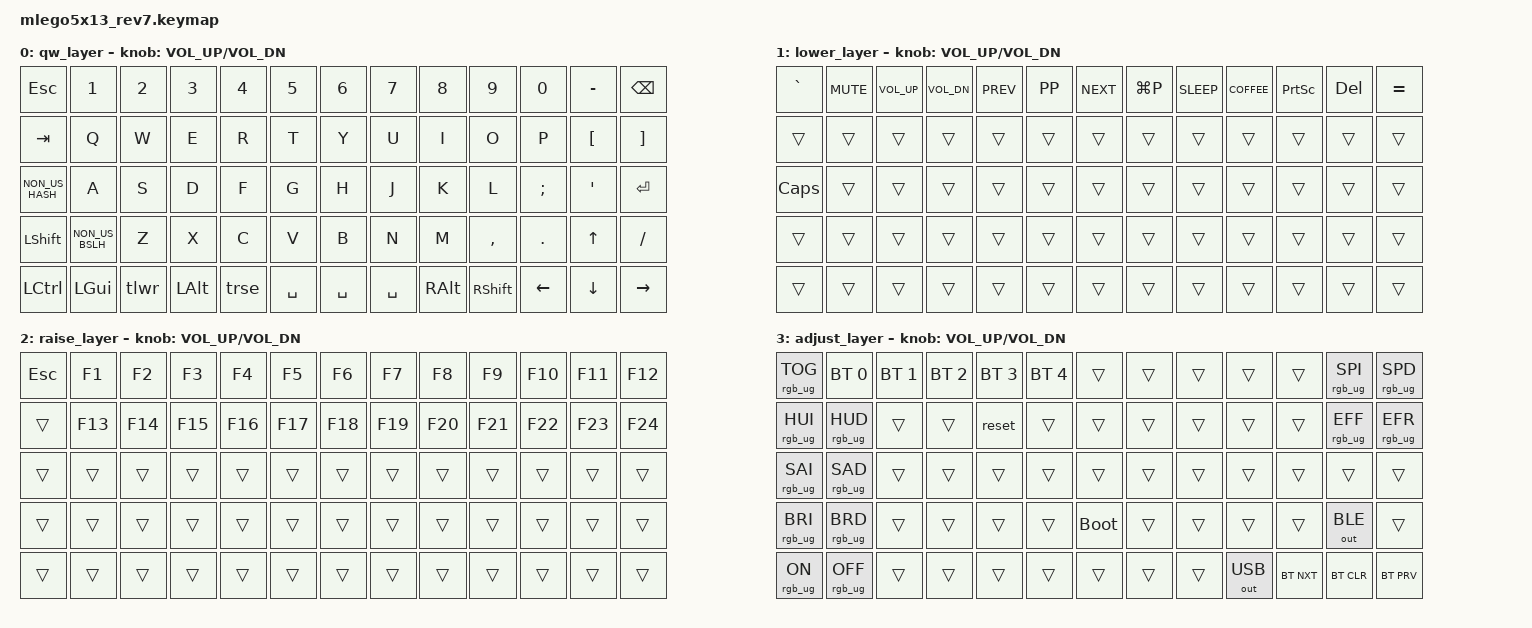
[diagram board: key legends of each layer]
/*
 * Copyright (c) 2022 The ZMK Contributors
 *
 * SPDX-License-Identifier: MIT
 */
 
#include <behaviors.dtsi>
#include <dt-bindings/zmk/keys.h>
#include <dt-bindings/zmk/outputs.h>
#include <dt-bindings/zmk/rgb.h>
#include <dt-bindings/zmk/bt.h>

#define  QW 0
#define LWR 2
#define RSE 1
#define ADJ 3

/ {

    conditional_layers {
        compatible = "zmk,conditional-layers";
        tri_layer {
            if-layers = <LWR RSE>;
            then-layer = <ADJ>;
        };
    };

    behaviors {
        tlwr: tlwr {
            compatible = "zmk,behavior-tap-dance";
            label = "tlwr";
            #binding-cells = <0>;
            tapping-term-ms = <200>;
            bindings = <&mo LWR>, <&tog LWR>, <&trans>;
        };

        trse: trse {
            compatible = "zmk,behavior-tap-dance";
            label = "trse";
            #binding-cells = <0>;
            tapping-term-ms = <200>;
            bindings = <&mo RSE>, <&tog RSE>, <&trans>;
        };
    };

    keymap {
        compatible = "zmk,keymap";

/*
 * ┌───┬───┬───┬───┬───┬───┬───┬───┬───┬───┬───┬───┬───┐
 * │ ⎋ │ 1 │ 2 │ 3 │ 4 │ 5 │ 6 │ 7 │ 8 │ 9 │ 0 │ - │ ⌫ │
 * ├───┼───┼───┼───┼───┼───┼───┼───┼───┼───┼───┼───┼───┤
 * │ ↹ │ q │ w │ e │ r │ t │ y │ u │ i │ o │ p │ [ │ ] │
 * ├───┼───┼───┼───┼───┼───┼───┼───┼───┼───┼───┼───┼───┤
 * │ # │ a │ s │ d │ f │ g │ h │ j │ k │ l │ ; │ ' │ ⏎ │
 * ├───┼───┼───┼───┼───┼───┼───┼───┼───┼───┼───┼───┼───┤
 * │ ⇧(│ \ │ z │ x │ c │ v │ b │ n │ m │ , │ , │ ↑ │ / │
 * ├───┼───┼───┼───┼───┼───┼───┼───┼───┼───┼───┼───┼───┤
 * │ ⎈ │mnu│lwr│⎇  │rse│   │   │   │⎇  │ ⇧)│ ← │ ↓ │ → │
 * └───┴───┴───┴───┴───┴───┴───┴───┴───┴───┴───┴───┴───┘
 */
        qw_layer {
            bindings = <
                &kp ESC          &kp N1          &kp N2 &kp N3   &kp N4 &kp N5    &kp N6    &kp N7    &kp N8   &kp N9    &kp N0   &kp MINUS &kp BSPC
                &kp TAB          &kp Q           &kp W  &kp E    &kp R  &kp T     &kp Y     &kp U     &kp I    &kp O     &kp P    &kp LBKT  &kp RBKT
                &kp NON_US_HASH  &kp A           &kp S  &kp D    &kp F  &kp G     &kp H     &kp J     &kp K    &kp L     &kp SEMI &kp APOS  &kp RET
                &kp LSHFT        &kp NON_US_BSLH &kp Z  &kp X    &kp C  &kp V     &kp B     &kp N     &kp M    &kp COMMA &kp DOT  &kp UP    &kp FSLH   
                &kp LCTRL        &kp LGUI        &tlwr  &kp LALT &trse  &kp SPACE &kp SPACE &kp SPACE &kp RALT &kp RSHFT &kp LEFT &kp DOWN  &kp RIGHT 
            >;
      sensor-bindings = <&inc_dec_kp C_VOL_UP C_VOL_DN>;
        };
/*
lower layer
 * ┌───┬───┬───┬───┬───┬───┬───┬───┬───┬───┬───┬───┬───┐
 * │ ` │MUT│Vup│Vdn│prv│ply│nxt│EXT│SLP│WAK│PSC│ ⌫ │ = │
 * ├───┼───┼───┼───┼───┼───┼───┼───┼───┼───┼───┼───┼───┤
 * │   │ σ │ ω │ ε │ ρ │ ϑ │ ℝ │ τ │ ∫ │ ∞ │ π │ [ │ ] │
 * ├───┼───┼───┼───┼───┼───┼───┼───┼───┼───┼───┼───┼───┤
 * │   │ α │ ∑ │ δ │ φ │ γ │ ℏ │ ∈ │ ϰ │ λ │ 𝔼 │ ∝ │ ⏎ │
 * ├───┼───┼───┼───┼───┼───┼───┼───┼───┼───┼───┼───┼───┤
 * │ ⇧(│   │ ζ │ ξ │ χ │ ν │ β │ η │ μ │ ≊ │ ± │   │ × │
 * ├───┼───┼───┼───┼───┼───┼───┼───┼───┼───┼───┼───┼───┤
 * │ ⎈ │   │lwr│⎇  │rse│   │   │   │⎇  │ ⇧)│   │   │   │
 * └───┴───┴───┴───┴───┴───┴───┴───┴───┴───┴───┴───┴───┘
lower layer shifted
 * ┌───┬───┬───┬───┬───┬───┬───┬───┬───┬───┬───┬───┬───┐
 * │ ¬ │   │   │   │   │   │   │   │   │   │   │ ⌫ │ = │
 * ├───┼───┼───┼───┼───┼───┼───┼───┼───┼───┼───┼───┼───┤
 * │MB3│ ϕ │ Ω │ ℇ │ ∇ │ θ │ ℤ │ ℂ │ ∮ │ ⊗ │ ∏ │ { │ } │
 * ├───┼───┼───┼───┼───┼───┼───┼───┼───┼───┼───┼───┼───┤
 * │MB2│ Α │ ⨋ │ ∂ │ ψ │ Γ │ 𝓗 │ ∉ │ ∆ │ Λ │ Å │ ℒ │ ⏎ │
 * ├───┼───┼───┼───┼───┼───┼───┼───┼───┼───┼───┼───┼───┤
 * │ ⇧(│MB1│ ∡ │ Ξ │ ̇  │ Ν │ Β │ ∪ │ ∘ │ ≈ │ ∓ │MSU│ ⋅ │
 * ├───┼───┼───┼───┼───┼───┼───┼───┼───┼───┼───┼───┼───┤
 * │ ⎈ │MB4│lwr│⎇  │rse│   │   │   │⎇  │ ⇧)│MSL│MSD│MSR│
 * └───┴───┴───┴───┴───┴───┴───┴───┴───┴───┴───┴───┴───┘
MB - mouse buttons
MS - mouse directions
*/
        lower_layer {
            bindings = <
                &kp GRAVE &kp K_MUTE &kp K_VOL_UP &kp K_VOL_DN &kp K_PREV &kp K_PP &kp K_NEXT &kp LG(P) &kp K_SLEEP &kp K_COFFEE &kp PSCRN &kp DEL &kp EQUAL
                &trans    &trans     &trans       &trans       &trans     &trans   &trans     &trans      &trans      &trans       &trans    &trans  &trans
                &kp CAPS  &trans     &trans       &trans       &trans     &trans   &trans     &trans      &trans      &trans       &trans    &trans  &trans
                &trans    &trans     &trans       &trans       &trans     &trans   &trans     &trans      &trans      &trans       &trans    &trans  &trans
                &trans    &trans     &trans       &trans       &trans     &trans   &trans     &trans      &trans      &trans       &trans    &trans  &trans
            >;
      sensor-bindings = <&inc_dec_kp C_VOL_UP C_VOL_DN>;
        };
/*
 * raise layer
 * ┌───┬───┬───┬───┬───┬───┬───┬───┬───┬───┬───┬───┬───┐
 * │ ⎋ │ F1│ F2│ F3│ F4│ F5│ F6│ F7│ F8│ F9│F10│F11│F12│
 * ├───┼───┼───┼───┼───┼───┼───┼───┼───┼───┼───┼───┼───┤
 * │   │ â │   │   │   │ ț │   │   │ î │   │   │   │   │
 * ├───┼───┼───┼───┼───┼───┼───┼───┼───┼───┼───┼───┼───┤
 * │ ⇪ │ ă │ ș │   │   │   │   │   │   │   │   │   │   │
 * ├───┼───┼───┼───┼───┼───┼───┼───┼───┼───┼───┼───┼───┤
 * │   │   │   │   │ ç │   │   │   │   │   │   │MWU│   │
 * ├───┼───┼───┼───┼───┼───┼───┼───┼───┼───┼───┼───┼───┤
 * │   │   │   │   │   │   │   │   │   │   │MWL│MWD│MWR│
 * └───┴───┴───┴───┴───┴───┴───┴───┴───┴───┴───┴───┴───┘
 * MW mouse keys
*/
        raise_layer {
            bindings = <
                &kp ESC  &kp F1  &kp F2  &kp F3  &kp F4  &kp F5  &kp F6  &kp F7  &kp F8  &kp F9  &kp F10 &kp F11 &kp F12
                &trans   &kp F13 &kp F14 &kp F15 &kp F16 &kp F17 &kp F18 &kp F19 &kp F20 &kp F21 &kp F22 &kp F23 &kp F24
                &trans   &trans  &trans  &trans  &trans  &trans  &trans  &trans  &trans  &trans  &trans  &trans  &trans
                &trans   &trans  &trans  &trans  &trans  &trans  &trans  &trans  &trans  &trans  &trans  &trans  &trans
                &trans   &trans  &trans  &trans  &trans  &trans  &trans  &trans  &trans  &trans  &trans  &trans  &trans
            >; 
      sensor-bindings = <&inc_dec_kp C_VOL_UP C_VOL_DN>;
        };

/*
adj layer
 * ┌───┬────┬───┬───┬───┬───┬────┬───┬───┬───┬───┬────┬────┐
 * │TOG│bt0 │bt1│bt2│bt3│bt4│    │   │   │   │   │ SPI│ SPD│
 * ├───┼────┼───┼───┼───┼───┼────┼───┼───┼───┼───┼────┼────┤
 * │HUI│HUD │   │   │rst│   │    │   │   │   │   │ EFF│ EFR│
 * ├───┼────┼───┼───┼───┼───┼────┼───┼───┼───┼───┼────┼────┤
 * │SAI│SAD │   │   │   │   │    │   │   │   │   │    │    │
 * ├───┼────┼───┼───┼───┼───┼────┼───┼───┼───┼───┼────┼────┤
 * │BRI│BRD │   │   │   │   │boot│   │   │   │   │bt  │    │
 * ├───┼────┼───┼───┼───┼───┼────┼───┼───┼───┼───┼────┼────┤
 * │ ON│OFF │   │   │   │   │    │   │   │USB│btN│btC │ btP│
 * └───┴────┴───┴───┴───┴───┴────┴───┴───┴───┴───┴────┴────┘
*/

        adjust_layer {
            bindings = <
                &rgb_ug RGB_TOG &bt BT_SEL 0    &bt BT_SEL 1 &bt BT_SEL 2 &bt BT_SEL 3 &bt BT_SEL 4 &trans      &trans &trans &trans       &trans     &rgb_ug RGB_SPI &rgb_ug RGB_SPD 
                &rgb_ug RGB_HUI &rgb_ug RGB_HUD &trans       &trans       &reset       &trans       &trans      &trans &trans &trans       &trans     &rgb_ug RGB_EFF &rgb_ug RGB_EFR
                &rgb_ug RGB_SAI &rgb_ug RGB_SAD &trans       &trans       &trans       &trans       &trans      &trans &trans &trans       &trans     &trans          &trans
                &rgb_ug RGB_BRI &rgb_ug RGB_BRD &trans       &trans       &trans       &trans       &bootloader &trans &trans &trans       &trans     &out OUT_BLE    &trans 
                &rgb_ug RGB_ON  &rgb_ug RGB_OFF &trans       &trans       &trans       &trans       &trans      &trans &trans &out OUT_USB &bt BT_NXT &bt BT_CLR      &bt BT_PRV   
            >;
      sensor-bindings = <&inc_dec_kp C_VOL_UP C_VOL_DN>;
        };

    };
};
